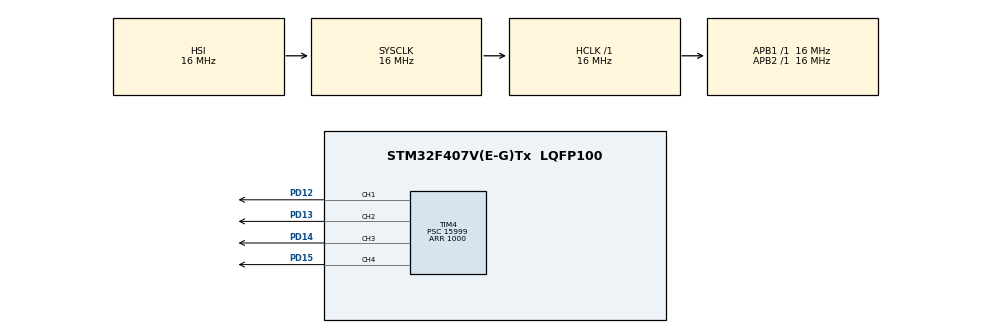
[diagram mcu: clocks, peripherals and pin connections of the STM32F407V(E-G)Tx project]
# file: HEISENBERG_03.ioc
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Mcu.Family=STM32F4
Mcu.Name=STM32F407V(E-G)Tx
Mcu.Package=LQFP100
NVIC.PriorityGroup=NVIC_PRIORITYGROUP_4
NVIC.TIM4_IRQn=true\:0\:0\:false\:false\:true\:true\:true\:true
PD12.Signal=S_TIM4_CH1
PD13.Signal=S_TIM4_CH2
PD14.Signal=S_TIM4_CH3
PD15.Signal=S_TIM4_CH4
ProjectManager.HeapSize=0x200
ProjectManager.StackSize=0x400
ProjectManager.TargetToolchain=STM32CubeIDE
RCC.AHBFreq_Value=16000000
RCC.APB1Freq_Value=16000000
RCC.APB2Freq_Value=16000000
RCC.CortexFreq_Value=16000000
RCC.HSE_VALUE=25000000
RCC.HSI_VALUE=16000000
RCC.LSE_VALUE=32768
RCC.SYSCLKFreq_VALUE=16000000
RCC.VCOOutputFreq_Value=192000000
SH.S_TIM4_CH1.0=TIM4_CH1,Output Compare1 CH1
SH.S_TIM4_CH2.0=TIM4_CH2,Output Compare2 CH2
SH.S_TIM4_CH3.0=TIM4_CH3,Output Compare3 CH3
SH.S_TIM4_CH4.0=TIM4_CH4,Output Compare4 CH4
TIM4.Channel-Output\ Compare1\ CH1=TIM_CHANNEL_1
TIM4.Channel-Output\ Compare2\ CH2=TIM_CHANNEL_2
TIM4.Channel-Output\ Compare3\ CH3=TIM_CHANNEL_3
TIM4.Channel-Output\ Compare4\ CH4=TIM_CHANNEL_4
TIM4.OCMode_1=TIM_OCMODE_TOGGLE
TIM4.OCMode_2=TIM_OCMODE_TOGGLE
TIM4.OCMode_3=TIM_OCMODE_TOGGLE
TIM4.OCMode_4=TIM_OCMODE_TOGGLE
TIM4.Period=1000
TIM4.Prescaler=15999
TIM4.Pulse-Output\ Compare1\ CH1=200
TIM4.Pulse-Output\ Compare2\ CH2=400
TIM4.Pulse-Output\ Compare3\ CH3=600
TIM4.Pulse-Output\ Compare4\ CH4=1000
VP_TIM4_VS_ClockSourceINT.Mode=Internal
board=custom

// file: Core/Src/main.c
/* USER CODE BEGIN Header */
/**
  ******************************************************************************
  * @file           : main.c
  * @brief          : Main program body
  ******************************************************************************
  * @attention
  *
  * Copyright (c) 2026 STMicroelectronics.
  * All rights reserved.
  *
  * This software is licensed under terms that can be found in the LICENSE file
  * in the root directory of this software component.
  * If no LICENSE file comes with this software, it is provided AS-IS.
  *
  ******************************************************************************
  */
/* USER CODE END Header */
#include "main.h"

TIM_HandleTypeDef htim4;

void SystemClock_Config(void);
static void MX_GPIO_Init(void);
static void MX_TIM4_Init(void);

int main(void)
{

  /* MCU Configuration--------------------------------------------------------*/

  /* Reset of all peripherals, Initializes the Flash interface and the Systick. */
  HAL_Init();

  /* Configure the system clock */
  SystemClock_Config();

  /* Initialize all configured peripherals */
  MX_GPIO_Init();
  MX_TIM4_Init();
  /* USER CODE BEGIN 2 */
  HAL_TIM_OC_Start_IT(&htim4, TIM_CHANNEL_1);
  HAL_TIM_OC_Start_IT(&htim4, TIM_CHANNEL_2);
  HAL_TIM_OC_Start_IT(&htim4, TIM_CHANNEL_3);
  HAL_TIM_OC_Start_IT(&htim4, TIM_CHANNEL_4);

  /* USER CODE END 2 */

  /* Infinite loop */
  while (1)
  {

  }
}

void SystemClock_Config(void)
{
  RCC_OscInitTypeDef RCC_OscInitStruct = {0};
  RCC_ClkInitTypeDef RCC_ClkInitStruct = {0};

  /** Configure the main internal regulator output voltage
  */
  __HAL_RCC_PWR_CLK_ENABLE();
  __HAL_PWR_VOLTAGESCALING_CONFIG(PWR_REGULATOR_VOLTAGE_SCALE1);

  /** Initializes the RCC Oscillators according to the specified parameters
  * in the RCC_OscInitTypeDef structure.
  */
  RCC_OscInitStruct.OscillatorType = RCC_OSCILLATORTYPE_HSI;
  RCC_OscInitStruct.HSIState = RCC_HSI_ON;
  RCC_OscInitStruct.HSICalibrationValue = RCC_HSICALIBRATION_DEFAULT;
  RCC_OscInitStruct.PLL.PLLState = RCC_PLL_NONE;
  if (HAL_RCC_OscConfig(&RCC_OscInitStruct) != HAL_OK)
  {
    Error_Handler();
  }

  /** Initializes the CPU, AHB and APB buses clocks
  */
  RCC_ClkInitStruct.ClockType = RCC_CLOCKTYPE_HCLK|RCC_CLOCKTYPE_SYSCLK
                              |RCC_CLOCKTYPE_PCLK1|RCC_CLOCKTYPE_PCLK2;
  RCC_ClkInitStruct.SYSCLKSource = RCC_SYSCLKSOURCE_HSI;
  RCC_ClkInitStruct.AHBCLKDivider = RCC_SYSCLK_DIV1;
  RCC_ClkInitStruct.APB1CLKDivider = RCC_HCLK_DIV1;
  RCC_ClkInitStruct.APB2CLKDivider = RCC_HCLK_DIV1;

  if (HAL_RCC_ClockConfig(&RCC_ClkInitStruct, FLASH_LATENCY_0) != HAL_OK)
  {
    Error_Handler();
  }
}

static void MX_TIM4_Init(void)
{

  TIM_ClockConfigTypeDef sClockSourceConfig = {0};
  TIM_MasterConfigTypeDef sMasterConfig = {0};
  TIM_OC_InitTypeDef sConfigOC = {0};

  htim4.Instance = TIM4;
  htim4.Init.Prescaler = 15999;
  htim4.Init.CounterMode = TIM_COUNTERMODE_UP;
  htim4.Init.Period = 1000;
  htim4.Init.ClockDivision = TIM_CLOCKDIVISION_DIV1;
  htim4.Init.AutoReloadPreload = TIM_AUTORELOAD_PRELOAD_DISABLE;
  if (HAL_TIM_Base_Init(&htim4) != HAL_OK)
  {
    Error_Handler();
  }
  sClockSourceConfig.ClockSource = TIM_CLOCKSOURCE_INTERNAL;
  if (HAL_TIM_ConfigClockSource(&htim4, &sClockSourceConfig) != HAL_OK)
  {
    Error_Handler();
  }
  if (HAL_TIM_OC_Init(&htim4) != HAL_OK)
  {
    Error_Handler();
  }
  sMasterConfig.MasterOutputTrigger = TIM_TRGO_RESET;
  sMasterConfig.MasterSlaveMode = TIM_MASTERSLAVEMODE_DISABLE;
  if (HAL_TIMEx_MasterConfigSynchronization(&htim4, &sMasterConfig) != HAL_OK)
  {
    Error_Handler();
  }
  sConfigOC.OCMode = TIM_OCMODE_TOGGLE;
  sConfigOC.Pulse = 200;
  sConfigOC.OCPolarity = TIM_OCPOLARITY_HIGH;
  sConfigOC.OCFastMode = TIM_OCFAST_DISABLE;
  if (HAL_TIM_OC_ConfigChannel(&htim4, &sConfigOC, TIM_CHANNEL_1) != HAL_OK)
  {
    Error_Handler();
  }
  sConfigOC.Pulse = 400;
  if (HAL_TIM_OC_ConfigChannel(&htim4, &sConfigOC, TIM_CHANNEL_2) != HAL_OK)
  {
    Error_Handler();
  }
  sConfigOC.Pulse = 600;
  if (HAL_TIM_OC_ConfigChannel(&htim4, &sConfigOC, TIM_CHANNEL_3) != HAL_OK)
  {
    Error_Handler();
  }
  sConfigOC.Pulse = 1000;
  if (HAL_TIM_OC_ConfigChannel(&htim4, &sConfigOC, TIM_CHANNEL_4) != HAL_OK)
  {
    Error_Handler();
  }
  HAL_TIM_MspPostInit(&htim4);

}

static void MX_GPIO_Init(void)
{

  /* GPIO Ports Clock Enable */
  __HAL_RCC_GPIOD_CLK_ENABLE();

}

/* USER CODE BEGIN 4 */
void HAL_TIM_OC_DelayElapsedCallback(TIM_HandleTypeDef *htim)
{
  if(htim->Instance == TIM4){
	  if(htim-> Channel == HAL_TIM_ACTIVE_CHANNEL_1){
		  if(__HAL_TIM_GET_COMPARE(&htim4, TIM_CHANNEL_1)>1000){
		   __HAL_TIM_SET_COMPARE(&htim4, TIM_CHANNEL_1, 200);
	  	  }
	  	  else{
		  	  __HAL_TIM_SET_COMPARE(&htim4, TIM_CHANNEL_1, __HAL_TIM_GET_COMPARE(&htim4, TIM_CHANNEL_1)+200);
	  	  }
	  }

	  else if(htim-> Channel == HAL_TIM_ACTIVE_CHANNEL_2){
		  if(__HAL_TIM_GET_COMPARE(&htim4, TIM_CHANNEL_2)>1000){
		  	  __HAL_TIM_SET_COMPARE(&htim4, TIM_CHANNEL_2, 400);
	  	  }
	  	  else{
		  	  __HAL_TIM_SET_COMPARE(&htim4, TIM_CHANNEL_2, __HAL_TIM_GET_COMPARE(&htim4, TIM_CHANNEL_2)+400);
	  	  }
	  }

	  else if(htim-> Channel == HAL_TIM_ACTIVE_CHANNEL_3){
		  if(__HAL_TIM_GET_COMPARE(&htim4, TIM_CHANNEL_3)>1000){
	      	  __HAL_TIM_SET_COMPARE(&htim4, TIM_CHANNEL_3, 600);
	  	  }
	  	  else{
	  	  	  __HAL_TIM_SET_COMPARE(&htim4, TIM_CHANNEL_3, __HAL_TIM_GET_COMPARE(&htim4, TIM_CHANNEL_3)+600);
	  	  }
	  }

	  else if(htim-> Channel == HAL_TIM_ACTIVE_CHANNEL_4){
		  if(__HAL_TIM_GET_COMPARE(&htim4, TIM_CHANNEL_4)>1000){
	  	  	  __HAL_TIM_SET_COMPARE(&htim4, TIM_CHANNEL_4, 1000);
	  	  }
	  	  else{
	  	  	  __HAL_TIM_SET_COMPARE(&htim4, TIM_CHANNEL_4, __HAL_TIM_GET_COMPARE(&htim4, TIM_CHANNEL_4)+1000);
	  	  }
	  }

  }

  /* NOTE : This function should not be modified, when the callback is needed,
            the HAL_TIM_OC_DelayElapsedCallback could be implemented in the user file
   */
}
/* USER CODE END 4 */

void Error_Handler(void)
{
  __disable_irq();
  while (1)
  {
  }
}
